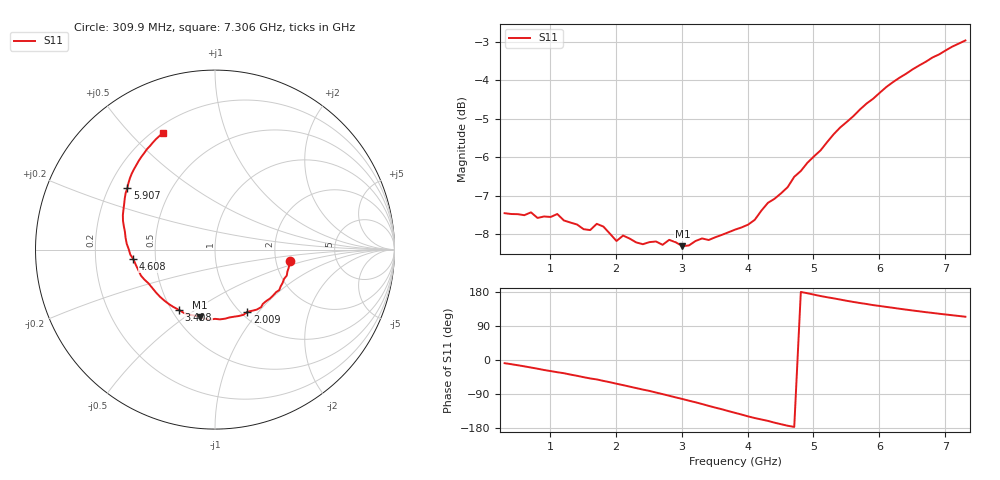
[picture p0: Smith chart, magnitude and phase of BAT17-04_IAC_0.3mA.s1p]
! Infineon Technologies  Discrete & RF Semiconductors
! BAT17-04
! IAC = 0.3 mA
! One-Port S-Parameters
# Hz  S  MA  R  50
!f  S11
!Hz  Mag  Ang
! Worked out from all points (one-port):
!   71 points, 309.9 MHz to 7.306 GHz, reference 50 ohm
!   lowest |S11| = -8.3 dB at 3.009 GHz (marker M1), VSWR 2.25, Z = 32.3 - j28.4 ohm
!   |S11| at or under -10 dB: nowhere
!   S11 on the Smith chart (normalised r, x): 309.9 MHz: 2.41, -0.36; 2.009 GHz: 1.07, -0.87; 3.408 GHz: 0.54, -0.43; 4.608 GHz: 0.37, -0.05; 5.907 GHz: 0.28, +0.30; 7.306 GHz: 0.24, +0.62
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3.0985e8  0.4241 -8.4
7.0965e8  0.4252 -19.9
8.096e8  0.4181 -23.0
1.10945e9  0.423 -32.2
1.2094e9  0.415 -34.8
1.6092e9  0.4032 -48.7
1.70915e9  0.4108 -51.3
2.009e9  0.3902 -62.6
2.10895e9  0.3966 -66.3
2.4088e9  0.3865 -78.0
2.6087e9  0.3897 -85.9
2.8086e9  0.3916 -94.4
3.0085e9  0.3842 -102.8
3.2084e9  0.3902 -111.6
3.4083e9  0.3914 -121.0
3.8081e9  0.4037 -139.4
4.10795e9  0.4158 -153.2
4.30785e9  0.4374 -160.7
4.6077e9  0.4584 -173.5
4.70765e9  0.4728 -176.6
4.90755e9  0.4931 176.2
5.30735e9  0.5371 162.6
5.6072e9  0.5671 153.1
5.90705e9  0.5973 144.8
6.2069e9  0.6276 137.7
6.50675e9  0.6521 130.6
6.8066e9  0.6755 124.2
7.30635e9  0.7108 114.1
